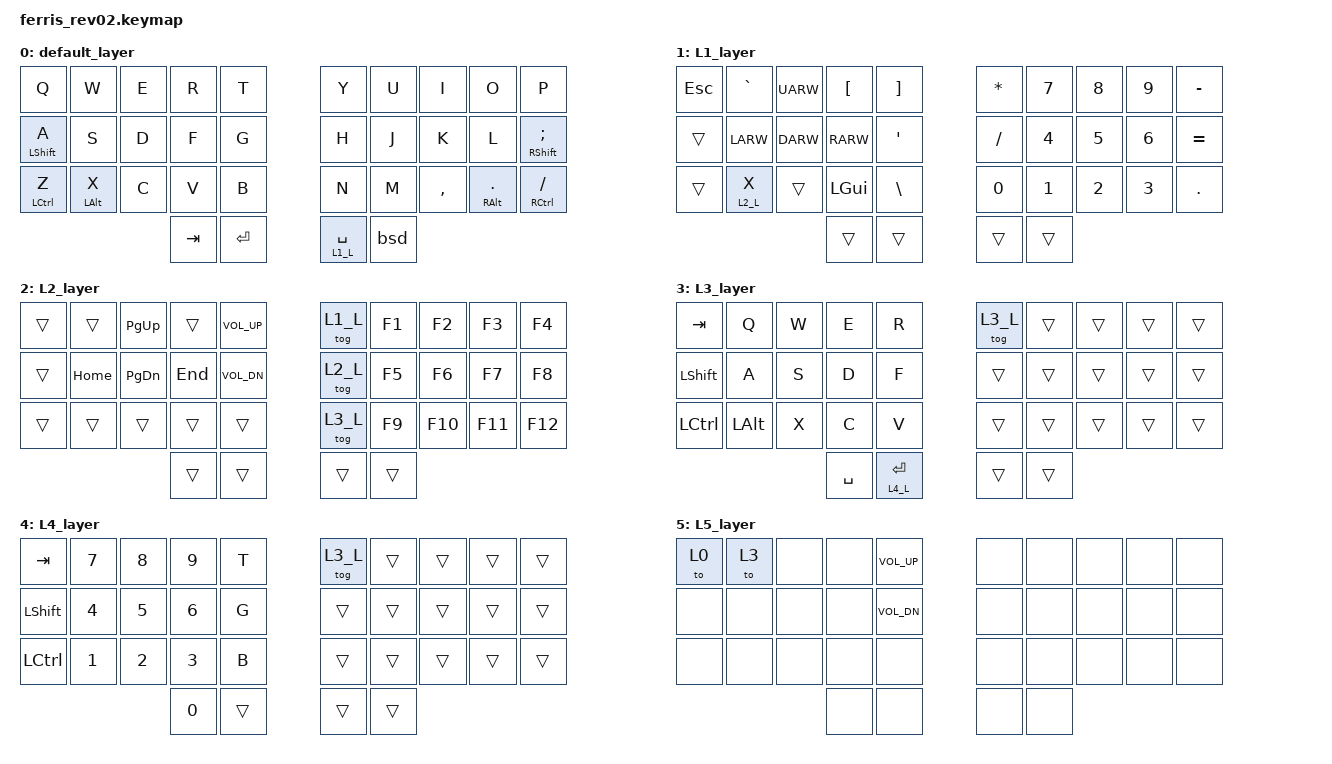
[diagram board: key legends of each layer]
/*
 * Copyright (c) 2020 The ZMK Contributors
 *
 * SPDX-License-Identifier: MIT
 */

#include <behaviors.dtsi>
#include <dt-bindings/zmk/keys.h>
#include <dt-bindings/zmk/bt.h>

#define BASE 0
#define L1_L 1
#define L2_L 2
#define L3_L 3
#define L4_L 4
#define L5_L 5

// Using layer taps on thumbs, having quick tap as well helps w/ repeating space/backspace
&lt { quick_tap_ms = <200>; };

/ {
    behaviors {
        hm: homerow_mods {
            compatible = "zmk,behavior-hold-tap";
            label = "homerow mods";
            #binding-cells = <2>;
            tapping_term_ms = <200>;
            flavor = "tap-preferred";
            bindings = <&kp>, <&kp>;
        };
		
		bsd: backspace_delete {
            compatible = "zmk,behavior-mod-morph";
            label = "BACKSPACE_DELETE";
            #binding-cells = <0>;
            bindings = <&kp BACKSPACE>, <&kp DELETE>;
            mods = <(MOD_LSFT|MOD_RSFT)>; 
        };
		
		spen: space_enter {
            compatible = "zmk,behavior-mod-morph";
            label = "SPACE_ENTER";
            #binding-cells = <0>;
            bindings = <&kp SPACE>, <&kp ENTER>;
            mods = <(MOD_RSFT)>; 
        };
		
        ltb: layer_tab_behave {
            compatible = "zmk,behavior-hold-tap";
            label = "LAYER_TAP_BEHAVE";
            #binding-cells = <2>;
            tapping-term-ms = <200>;    // <---[[moderate duration]]
            quick-tap-ms = <0>;
            flavor = "balanced";
            bindings = <&mo>, <&spen>;
        };
		
		combos {
			compatible = "zmk,combos";
			combo_sys {
				timeout-ms = <50>;
				key-positions = <0 31>;
				bindings = <&to 5>;
			};
			combo_esc {
				timeout-ms = <50>;
				key-positions = <0 1>;
				bindings = <&kp ESC>;
			};
		};
    };

    keymap {
        compatible = "zmk,keymap";

        default_layer {
            bindings = <
                &kp Q      	&kp W      	&kp E     	&kp R          	&kp T			&kp Y			&kp U			&kp I			&kp O			&kp P
                &hm LSHFT A &kp S 	  	&kp D 	  	&kp F			&kp G         	&kp H           &kp J    	   	&kp K			&kp L  	  		&hm RSHFT SEMI
                &hm LCTRL Z &hm LALT X  &kp C     	&kp V          	&kp B         	&kp N           &kp M          	&kp COMMA   	&hm RALT DOT    &hm RCTRL FSLH
													&kp TAB  		&kp ENTER     	&ltb L1_L SPACE &bsd
												  
            >;
        };

        L1_layer {
            bindings = <
                &kp ESC     &kp GRAVE   &kp UARW    &kp LBKT      	&kp RBKT        &kp STAR       	&kp N7     		&kp N8      	&kp N9   		&kp MINUS     
                &trans     	&kp LARW    &kp DARW    &kp RARW   		&kp APOS      	&kp FSLH        &kp N4     		&kp N5      	&kp N6   		&kp EQUAL        
                &trans   	&lt L2_L X 	&trans		&kp LGUI        &kp BSLH       	&kp N0         	&kp N1     		&kp N2      	&kp N3  		&kp DOT
													&trans          &trans       	&trans         	&trans
            >;
        };

        L2_layer {
            bindings = <
                &trans     &trans     	&kp PG_UP	&trans          &kp C_VOL_UP   	&tog L1_L     	&kp F1			&kp F2	        &kp F3         	&kp F4 
                &trans     &kp HOME		&kp PG_DN	&kp END         &kp C_VOL_DN    &tog L2_L     	&kp F5			&kp F6       	&kp F7       	&kp F8     
                &trans     &trans     	&trans      &trans          &trans       	&tog L3_L    	&kp F9			&kp F10	        &kp F11   		&kp F12
													&trans          &trans       	&trans      	&trans
            >;
        };

        L3_layer {
            bindings = <
				&kp TAB		&kp Q      	&kp W      	&kp E     		&kp R	      	&tog L3_L    	&trans         	&trans      	&trans     		&trans  
                &kp LSHFT	&kp A 		&kp S 	  	&kp D 	  		&kp F  			&trans     		&trans          &trans         	&trans      	&trans       
                &kp LCTRL  	&kp LALT 	&kp X   	&kp C     		&kp V          	&trans     		&trans      	&trans     		&trans			&trans
													&kp SPACE  		&ltb L4_L ENTER	&trans          &trans
            >;
        };
		
		L4_layer {
            bindings = <
				&kp TAB		&kp N7     	&kp N8      &kp N9     		&kp T	      	&tog L3_L    	&trans         	&trans      	&trans     		&trans  
                &kp LSHFT	&kp N4     	&kp N5      &kp N6 	  		&kp G  			&trans     		&trans          &trans         	&trans      	&trans       
                &kp LCTRL  	&kp N1     	&kp N2      &kp N3     		&kp B          	&trans     		&trans      	&trans     		&trans			&trans
													&kp N0  		&trans			&trans          &trans
            >;
        };
		
		L5_layer {
            bindings = <
				&to 0		&to 3     	&none      &none     		&kp C_VOL_UP	&none	    	&none         	&none      	&none     		&none  
				&none		&none     	&none      &none     		&kp C_VOL_DN	&none	    	&none         	&none      	&none     		&none  
				&none		&none     	&none      &none     		&none	      	&none	    	&none         	&none      	&none     		&none  
													&none  			&none			&none          	&none
            >;
        };
    };
};
